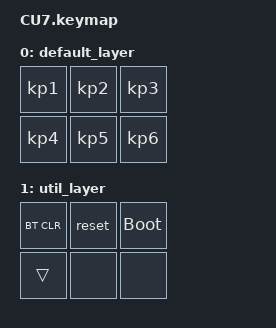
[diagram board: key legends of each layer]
/*
 * Copyright (c) 2020 The ZMK Contributors
 *
 * SPDX-License-Identifier: MIT
 */

#include <behaviors.dtsi>
#include <dt-bindings/zmk/keys.h>
#include <dt-bindings/zmk/bt.h>

/ {
    keymap {
        compatible = "zmk,keymap";

        default_layer {
// -------------------------------
// |   PREV      |     PLAY     |    NEXT    |
// |   LAYER 1   |    REPEAT    |    MUTE    |
// -------------------------------
            bindings = <
    &kp KP_NUMBER_1   &kp KP_NUMBER_2     &kp KP_NUMBER_3
    &kp KP_NUMBER_4   &kp KP_NUMBER_5     &kp KP_NUMBER_6
            >;

        };

        util_layer {
// -------------------------------
// |   Bluetooth Reset   |     Reset     |    Bootloader    |
// |       LAYER 0       |    REPEAT    |    MUTE    |
// -------------------------------
            bindings = <
    &bt BT_CLR   &reset     &bootloader
    &trans     &none     &none
            >;

        };

    };
};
